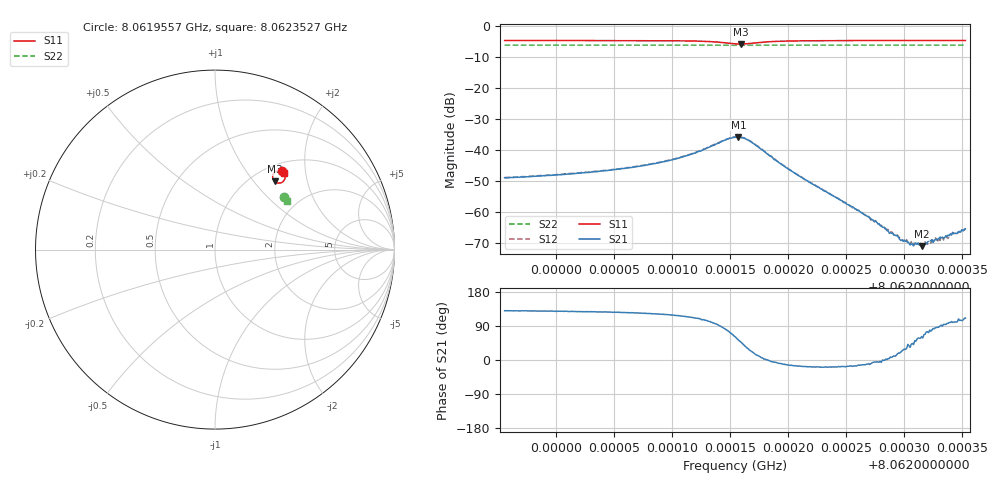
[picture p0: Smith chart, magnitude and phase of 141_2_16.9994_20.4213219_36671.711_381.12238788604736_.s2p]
#  HZ  S  RI  R  50.00
! Rohde & Schwarz Vector Network Analyzer
! Rohde-Schwarz,ZNB20-2Port,1311601062101988,3.16
! Created: UTC 3/20/2024, 10:58:21 PM
! freq[Hz]  re:S11  im:S11  re:S21  im:S21  re:S12  im:S12  re:S22  im:S22
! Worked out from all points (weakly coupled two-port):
!   401 points, 8.0619557 GHz to 8.0623527 GHz, reference 50 ohm
!   highest |S21| = -35.80 dB at 8.0621572 GHz (marker M1); lowest = -71.0 dB at 8.062315 GHz (marker M2)
!   lowest |S11| = -5.9 dB at 8.0621592 GHz (marker M3), VSWR 3.03, Z = 63.1 + j64.3 ohm
!   |S11| at or under -10 dB: nowhere
!   |S22| runs from -6.4 to -6.3 dB; largest |S21 - S12| = 0.0011
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8.06195574e9  0.3735 0.438  -0.00229 0.00273  -0.00218 0.0029  0.3867 0.291
8.06202223e9  0.3794 0.4323  -0.00262 0.00338  -0.00243 0.00358  0.389 0.2878
8.06206193e9  0.3836 0.4268  -0.00295 0.0042  -0.00272 0.00444  0.3905 0.2857
8.06208873e9  0.3871 0.4208  -0.00323 0.00531  -0.00292 0.00557  0.3913 0.2843
8.06211751e9  0.3906 0.4075  -0.00324 0.00802  -0.00277 0.00826  0.3922 0.2822
8.06214728e9  0.3687 0.3726  0.00287 0.0145  0.00387 0.0145  0.3916 0.2797
8.06215423e9  0.3473 0.3712  0.00765 0.014  0.0087 0.0137  0.391 0.2796
8.0621572e9  0.3375 0.3753  0.00982 0.0129  0.0106 0.0123  0.3907 0.2799
8.06215919e9  0.3318 0.3796  0.0107 0.0118  0.0116 0.0112  0.3905 0.2799
8.06216812e9  0.3211 0.4071  0.0123 0.00542  0.0128 0.00463  0.3908 0.2809
8.06219492e9  0.3486 0.439  0.00564 -0.00104  0.00563 -0.00139  0.3932 0.2807
8.06222072e9  0.3634 0.4392  0.0027 -0.000882  0.0027 -0.00111  0.3947 0.2793
8.0622624e9  0.374 0.4353  0.00097 -0.000226  0.00099 -0.000309  0.3964 0.277
8.06228721e9  0.3777 0.4332  0.000454 3.21e-05  0.000473 -2.61e-05  0.3973 0.2756
8.06229714e9  0.3789 0.4324  0.000326 0.000125  0.00035 0.000136  0.3977 0.2751
8.06230507e9  0.3798 0.4319  0.000246 0.000162  0.00026 0.000166  0.3979 0.2747
8.062315e9  0.3809 0.4311  0.000135 0.000249  0.000181 0.000248  0.3984 0.2742
8.06232195e9  0.3815 0.4307  6.66e-05 0.000347  7.03e-05 0.000312  0.3985 0.2739
8.06232592e9  0.3821 0.4303  4.62e-05 0.00035  4.58e-05 0.000342  0.3986 0.2736
8.06233584e9  0.383 0.4298  -2.69e-05 0.000413  -4.32e-05 0.000411  0.399 0.2733
8.0623408e9  0.3834 0.4294  -8.53e-05 0.00042  -8.99e-05 0.000436  0.3992 0.273
8.06235271e9  0.3843 0.4286  -0.000191 0.000504  -0.000159 0.000509  0.3996 0.2724
